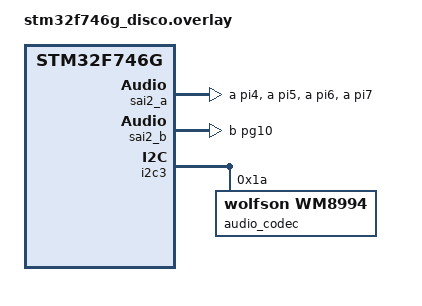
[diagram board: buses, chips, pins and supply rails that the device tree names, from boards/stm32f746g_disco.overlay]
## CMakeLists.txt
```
# Copyright (C) 2026 Kamil Lulko <kamil.lulko@gmail.com>
#
# This file is part of hIRoic_zephyr.
#
# hIRoic_zephyr is free software: you can redistribute it and/or modify
# it under the terms of the GNU General Public License as published by
# the Free Software Foundation, either version 3 of the License, or
# (at your option) any later version.
#
# hIRoic_zephyr is distributed in the hope that it will be useful,
# but WITHOUT ANY WARRANTY; without even the implied warranty of
# MERCHANTABILITY or FITNESS FOR A PARTICULAR PURPOSE. See the
# GNU General Public License for more details.
#
# You should have received a copy of the GNU General Public License
# along with hIRoic_zephyr. If not, see <https://www.gnu.org/licenses/>.

cmake_minimum_required(VERSION 3.20.0)

# Add out-of-tree WM8994 driver
list(APPEND ZEPHYR_EXTRA_MODULES ${CMAKE_CURRENT_SOURCE_DIR}/drivers/wm8994)

# Add app-level DTS include path (for dt-bindings/clock/stm32f7_sai_clock.h)
list(APPEND DTS_ROOT ${CMAKE_CURRENT_SOURCE_DIR})

find_package(Zephyr REQUIRED HINTS $ENV{ZEPHYR_BASE})
project(hIRoic)

set(CORE ${CMAKE_CURRENT_SOURCE_DIR}/core)

target_sources(app PRIVATE
    src/main.c
    src/ir_manager.c
    ${CORE}/src/dsp.c
    ${CORE}/src/wav_parser.c
    ${CORE}/src/ir_convert.c
    ${CORE}/src/lvgl_ui.c
)

target_include_directories(app PRIVATE
    ${CORE}/include
    src/
)
```

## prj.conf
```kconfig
# Copyright (C) 2026 Kamil Lulko <kamil.lulko@gmail.com>
#
# This file is part of hIRoic_zephyr.
#
# hIRoic_zephyr is free software: you can redistribute it and/or modify
# it under the terms of the GNU General Public License as published by
# the Free Software Foundation, either version 3 of the License, or
# (at your option) any later version.
#
# hIRoic_zephyr is distributed in the hope that it will be useful,
# but WITHOUT ANY WARRANTY; without even the implied warranty of
# MERCHANTABILITY or FITNESS FOR A PARTICULAR PURPOSE. See the
# GNU General Public License for more details.
#
# You should have received a copy of the GNU General Public License
# along with hIRoic_zephyr. If not, see <https://www.gnu.org/licenses/>.

# Audio
CONFIG_I2S=y

# DSP (CMSIS-DSP FFT)
CONFIG_CMSIS_DSP=y
CONFIG_CMSIS_DSP_TRANSFORM=y
CONFIG_CMSIS_DSP_COMPLEXMATH=y
CONFIG_CMSIS_DSP_BASICMATH=y
CONFIG_CMSIS_DSP_SUPPORT=y

# SD card / filesystem
CONFIG_DISK_ACCESS=y
CONFIG_DISK_DRIVERS=y
CONFIG_DISK_DRIVER_SDMMC=y
CONFIG_FILE_SYSTEM=y
CONFIG_FAT_FILESYSTEM_ELM=y

# Serial input
CONFIG_CONSOLE_SUBSYS=y
CONFIG_CONSOLE_GETCHAR=y

# LVGL display
CONFIG_LVGL=y
CONFIG_DISPLAY=y
CONFIG_LV_Z_RUN_LVGL_ON_WORKQUEUE=y
CONFIG_LV_Z_LVGL_MUTEX=y
CONFIG_LV_COLOR_DEPTH_24=y
CONFIG_LV_FONT_MONTSERRAT_14=y
CONFIG_LV_FONT_MONTSERRAT_32=y
CONFIG_LV_Z_MEM_POOL_SIZE=16384
```

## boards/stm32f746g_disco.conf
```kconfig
# Copyright (C) 2026 Kamil Lulko <kamil.lulko@gmail.com>
#
# This file is part of hIRoic_zephyr.
#
# hIRoic_zephyr is free software: you can redistribute it and/or modify
# it under the terms of the GNU General Public License as published by
# the Free Software Foundation, either version 3 of the License, or
# (at your option) any later version.
#
# hIRoic_zephyr is distributed in the hope that it will be useful,
# but WITHOUT ANY WARRANTY; without even the implied warranty of
# MERCHANTABILITY or FITNESS FOR A PARTICULAR PURPOSE. See the
# GNU General Public License for more details.
#
# You should have received a copy of the GNU General Public License
# along with hIRoic_zephyr. If not, see <https://www.gnu.org/licenses/>.

CONFIG_I2S=y
CONFIG_I2C=y
CONFIG_DMA=y
CONFIG_AUDIO=y
CONFIG_AUDIO_CODEC=y

CONFIG_HEAP_MEM_POOL_SIZE=32768
CONFIG_MAIN_STACK_SIZE=8192

CONFIG_LOG=y
CONFIG_I2S_LOG_LEVEL_DBG=y
CONFIG_SDMMC_LOG_LEVEL_DBG=y
CONFIG_DISK_LOG_LEVEL_DBG=y
```

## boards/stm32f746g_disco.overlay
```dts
/*
 * Copyright (C) 2026 Kamil Lulko <kamil.lulko@gmail.com>
 *
 * This file is part of hIRoic_zephyr.
 *
 * hIRoic_zephyr is free software: you can redistribute it and/or modify
 * it under the terms of the GNU General Public License as published by
 * the Free Software Foundation, either version 3 of the License, or
 * (at your option) any later version.
 *
 * hIRoic_zephyr is distributed in the hope that it will be useful,
 * but WITHOUT ANY WARRANTY; without even the implied warranty of
 * MERCHANTABILITY or FITNESS FOR A PARTICULAR PURPOSE. See the
 * GNU General Public License for more details.
 *
 * You should have received a copy of the GNU General Public License
 * along with hIRoic_zephyr. If not, see <https://www.gnu.org/licenses/>.
 */

#include <zephyr/dt-bindings/dma/stm32_dma.h>
#include <dt-bindings/clock/stm32f7_sai_clock.h>

/* Define SAI2 Block A and B nodes (not yet in upstream Zephyr) */
/ {
	soc {
		sai2_a: sai2@40015c04 {
			compatible = "st,stm32-sai";
			#address-cells = <1>;
			#size-cells = <0>;
			reg = <0x40015c04 0x20>;
			clocks = <&rcc STM32_CLOCK(APB2, 23)>;
			dmas = <&dma2 4 3 (STM32_DMA_MODE_NORMAL |
				STM32_DMA_PRIORITY_HIGH |
				STM32_DMA_16BITS) 0>;
			status = "disabled";
		};

		sai2_b: sai2@40015c24 {
			compatible = "st,stm32-sai";
			#address-cells = <1>;
			#size-cells = <0>;
			reg = <0x40015c24 0x20>;
			clocks = <&rcc STM32_CLOCK(APB2, 23)>;
			dmas = <&dma2 7 0 (STM32_DMA_MODE_NORMAL |
				STM32_DMA_PRIORITY_HIGH |
				STM32_DMA_16BITS) 0>;
			status = "disabled";
		};
	};
};

&dma2 {
	status = "okay";
};

&sdmmc1 {
	dmas = <&dma2 6 4 0x30000 0x00>, <&dma2 3 4 0x30000 0x00>;
	dma-names = "tx", "rx";
	/delete-property/ cd-gpios;
};

/* Configure PLLSAI for audio clocking (approximate 44.1k family)
 * Goal: produce MCLK near 11.2896 MHz (256 * 44.1k = 11.2896 MHz).
 * Exact 11.2896 cannot be produced with HSE=25MHz and integer dividers,
 * so we choose PLLSAI N = 361 and dividers 8 and 4 to get:
 * PLLSAI_VCO = (25MHz / 25) * 361 = 361 MHz
 * SAI clock = 361 / 8 / 4 = 11.28125 MHz
 * Resulting sample rate = 11.28125 / 256 = 44032.22656 Hz (approx. 44.03 kHz)
 */
&pllsai {
	mul-n = <361>;
	div-q = <8>;
	div-divq = <4>;
	status = "okay";
};

i2s_tx: &sai2_a {
	status = "okay";
	pinctrl-0 = <&sai2_mclk_a_pi4 &sai2_sck_a_pi5
		     &sai2_sd_a_pi6 &sai2_fs_a_pi7>;
	pinctrl-names = "default";
	clocks = <&rcc STM32_CLOCK(APB2, 23)>,
		 <&rcc STM32_SRC_PLLSAI_DIVQ SAI2_SEL(0)>;
	dma-names = "tx";
	mclk-enable;
	mclk-divider = "div-256";
};

i2s_rx: &sai2_b {
	status = "okay";
	pinctrl-0 = <&sai2_sd_b_pg10>;
	pinctrl-names = "default";
	dma-names = "rx";
	/* SAI2_B must be synchronous with SAI2_A since it shares clocks */
	synchronous;
};

&i2c3 {
audio_codec: wm8994@1a {
	compatible = "wolfson,wm8994";
	reg = <0x1a>;
	#sound-dai-cells = <0>;
	status = "okay";
};
};
```

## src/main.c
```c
/*
 * Copyright (C) 2026 Kamil Lulko <kamil.lulko@gmail.com>
 *
 * This file is part of hIRoic_zephyr.
 *
 * hIRoic_zephyr is free software: you can redistribute it and/or modify
 * it under the terms of the GNU General Public License as published by
 * the Free Software Foundation, either version 3 of the License, or
 * (at your option) any later version.
 *
 * hIRoic_zephyr is distributed in the hope that it will be useful,
 * but WITHOUT ANY WARRANTY; without even the implied warranty of
 * MERCHANTABILITY or FITNESS FOR A PARTICULAR PURPOSE. See the
 * GNU General Public License for more details.
 *
 * You should have received a copy of the GNU General Public License
 * along with hIRoic_zephyr. If not, see <https://www.gnu.org/licenses/>.
 *
 * hIRoic - Real-time guitar cabinet IR convolution processor
 *
 * Threads:
 * - audio_thread (priority 7): i2s_read -> dsp_process -> i2s_write
 * - input_thread (priority 4): serial console, IR loading
 * - heartbeat_thread (priority 5): stats logging, LVGL label update
 * - LVGL workqueue (automatic): display rendering
 */

#include <zephyr/kernel.h>
#include <zephyr/linker/section_tags.h>
#include <zephyr/sys/printk.h>
#include <zephyr/drivers/i2s.h>
#include <zephyr/audio/codec.h>
#include <zephyr/logging/log.h>
#include <zephyr/console/console.h>
#include <string.h>
#include <stdio.h>

#include "app_conf.h"
#include "dsp.h"
#include "ir_manager.h"

#ifdef CONFIG_LVGL
#include <lvgl.h>
#include <lvgl_display.h>
#include <zephyr/device.h>
#include <zephyr/drivers/display.h>
#include "lvgl_ui_core.h"
#endif

LOG_MODULE_REGISTER(hiroic, LOG_LEVEL_DBG);

/* ========================================================================= */
/* I2S DEVICE NODES                                                          */
/* ========================================================================= */

#if DT_NODE_EXISTS(DT_NODELABEL(i2s_rxtx))
#define I2S_RX_NODE DT_NODELABEL(i2s_rxtx)
#define I2S_TX_NODE I2S_RX_NODE
#else
#define I2S_RX_NODE DT_NODELABEL(i2s_rx)
#define I2S_TX_NODE DT_NODELABEL(i2s_tx)
#endif

/* ========================================================================= */
/* AUDIO CONFIGURATION                                                       */
/* ========================================================================= */

#define SAMPLE_FREQUENCY   DSP_RATE
#define SAMPLE_BIT_WIDTH   16
#define BYTES_PER_SAMPLE   sizeof(int16_t)
#define NUMBER_OF_CHANNELS 1
#define SAMPLES_PER_BLOCK  DSP_BUFFER_SIZE
#define INITIAL_BLOCKS     4
#define TIMEOUT            1000

#define BLOCK_SIZE  (BYTES_PER_SAMPLE * SAMPLES_PER_BLOCK)
/* Pad slab block size to cache line boundary (32 bytes) for DMA coherency */
#define SLAB_BLOCK_SIZE ((BLOCK_SIZE + 31) & ~31)
#define BLOCK_COUNT (INITIAL_BLOCKS + 4)
K_MEM_SLAB_DEFINE_IN_SECT_STATIC(mem_slab, __dtcm_noinit_section,
				 SLAB_BLOCK_SIZE, BLOCK_COUNT, 32);

/* ========================================================================= */
/* APPLICATION STATE                                                         */
/* ========================================================================= */

/* IR buffer for loading from SD card */
static int ir_buffer[IR_MAX_LEN];
static unsigned int ir_length;
static unsigned int ir_sample_rate;

/* Semaphore: gates audio thread until I2S streams are started */
static K_SEM_DEFINE(i2s_ready_sem, 0, 1);

/* Flag: when true, audio thread bypasses DSP (passthrough) during IR load */
static volatile bool ir_loading;

/* Flag: when true, audio thread bypasses DSP (user-toggled bypass) */
static volatile bool ir_bypass;

/* Processing statistics */
static volatile uint32_t total_processing_cycles;
static volatile uint32_t processing_sample_count;
static volatile uint32_t audio_overrun_count;
static volatile int16_t audio_peak_level;

/* I2S device pointers (set in main, used by threads) */
static const struct device *i2s_dev_rx;
static const struct device *i2s_dev_tx;


/* ========================================================================= */
/* I2S HELPERS                                                               */
/* ========================================================================= */

static bool configure_streams(const struct device *dev_rx, const struct device *dev_tx,
			      const struct i2s_config *config)
{
	int ret;

	if (dev_rx == dev_tx) {
		ret = i2s_configure(dev_rx, I2S_DIR_BOTH, config);
		if (ret == 0) {
			return true;
		}
		if (ret != -ENOSYS) {
			printk("Failed to configure streams: %d\n", ret);
			return false;
		}
	}

	/* RX must be slave when using separate TX/RX with synchronous mode */
	struct i2s_config rx_config = *config;
	rx_config.options = I2S_OPT_BIT_CLK_SLAVE | I2S_OPT_FRAME_CLK_SLAVE;

	ret = i2s_configure(dev_rx, I2S_DIR_RX, &rx_config);
	if (ret < 0) {
		printk("Failed to configure RX stream: %d\n", ret);
		return false;
	}

	ret = i2s_configure(dev_tx, I2S_DIR_TX, config);
	if (ret < 0) {
		printk("Failed to configure TX stream: %d\n", ret);
		return false;
	}

	return true;
}

static bool prepare_transfer(const struct device *dev_rx, const struct device *dev_tx)
{
	int ret;

	for (int i = 0; i < INITIAL_BLOCKS; ++i) {
		void *mem_block;

		ret = k_mem_slab_alloc(&mem_slab, &mem_block, K_NO_WAIT);
		if (ret < 0) {
			printk("Failed to allocate TX block %d: %d\n", i, ret);
			return false;
		}

		memset(mem_block, 0, BLOCK_SIZE);

		ret = i2s_write(dev_tx, mem_block, BLOCK_SIZE);
		if (ret < 0) {
			printk("Failed to write block %d: %d\n", i, ret);
			return false;
		}
	}

	return true;
}

static bool trigger_command(const struct device *dev_rx, const struct device *dev_tx,
			    enum i2s_trigger_cmd cmd)
{
	int ret;

	if (dev_rx == dev_tx) {
		ret = i2s_trigger(dev_rx, I2S_DIR_BOTH, cmd);
		if (ret == 0) {
			return true;
		}
		if (ret != -ENOSYS) {
			printk("Failed to trigger command %d: %d\n", cmd, ret);
			return false;
		}
	}

	/* TX first for START, RX first for STOP/DROP */
	if (cmd == I2S_TRIGGER_START) {
		ret = i2s_trigger(dev_tx, I2S_DIR_TX, cmd);
		if (ret < 0) {
			printk("Failed to trigger command %d on TX: %d\n", cmd, ret);
			return false;
		}
		ret = i2s_trigger(dev_rx, I2S_DIR_RX, cmd);
		if (ret < 0) {
			printk("Failed to trigger command %d on RX: %d\n", cmd, ret);
			return false;
		}
	} else {
		ret = i2s_trigger(dev_rx, I2S_DIR_RX, cmd);
		if (ret < 0) {
			printk("Failed to trigger command %d on RX: %d\n", cmd, ret);
			return false;
		}
		ret = i2s_trigger(dev_tx, I2S_DIR_TX, cmd);
		if (ret < 0) {
			printk("Failed to trigger command %d on TX: %d\n", cmd, ret);
			return false;
		}
	}

	return true;
}

static bool start_i2s_streams(void)
{
	if (!prepare_transfer(i2s_dev_rx, i2s_dev_tx)) {
		return false;
	}
	if (!trigger_command(i2s_dev_rx, i2s_dev_tx, I2S_TRIGGER_START)) {
		return false;
	}
	printk("I2S streams started\n");
	return true;
}


/* ========================================================================= */
/* AUDIO THREAD                                                              */
/* ========================================================================= */

static void audio_thread_fn(void *p1, void *p2, void *p3)
{
	ARG_UNUSED(p1);
	ARG_UNUSED(p2);
	ARG_UNUSED(p3);

	printk("Audio thread started, waiting for I2S...\n");
	k_sem_take(&i2s_ready_sem, K_FOREVER);
	printk("Audio thread running\n");

	for (;;) {
		void *rx_block;
		uint32_t block_size;
		int ret;

		/* Block until RX data is ready */
		ret = i2s_read(i2s_dev_rx, &rx_block, &block_size);
		if (ret < 0) {
			if (ret == -EIO) {
				/* Stream was stopped (e.g. for IR reload).
				 * 50ms backoff avoids busy-looping while the stream
				 * is being restarted by the input thread. */
				k_sleep(K_MSEC(50));
				continue;
			}
			printk("Failed to read data: %d\n", ret);
			audio_overrun_count++;
			continue;
		}

		uint32_t start_cycles = k_cycle_get_32();

		/* Allocate output block */
		void *tx_block;
		ret = k_mem_slab_alloc(&mem_slab, &tx_block, K_NO_WAIT);
		if (ret < 0) {
			printk("Failed to allocate TX block: %d\n", ret);
			k_mem_slab_free(&mem_slab, rx_block);
			audio_overrun_count++;
			continue;
		}

#if defined(AUDIO_TEST_MODE_ECHO)
		/* Echo mode: copy RX to TX unchanged */
		memcpy(tx_block, rx_block, BLOCK_SIZE);
#else
		if (ir_loading || ir_bypass) {
			/* Passthrough while IR is being loaded or bypass enabled */
			memcpy(tx_block, rx_block, BLOCK_SIZE);
		} else {
			/* Normal mode: apply IR convolution */
			dsp_process((int16_t *)tx_block, (int16_t *)rx_block);
		}
#endif

		uint32_t end_cycles = k_cycle_get_32();
		total_processing_cycles += (end_cycles - start_cycles);
		processing_sample_count++;

		/* Compute peak level of output buffer (outside timing) */
		{
			int16_t peak = 0;
			int16_t *out = (int16_t *)tx_block;
			for (int i = 0; i < DSP_BUFFER_SIZE; i++) {
				int16_t abs_val = (out[i] < 0) ? -out[i] : out[i];
				if (abs_val > peak) {
					peak = abs_val;
				}
			}
			audio_peak_level = peak;
		}

		/* Free the RX block */
		k_mem_slab_free(&mem_slab, rx_block);

		/* Queue TX block for output */
		ret = i2s_write(i2s_dev_tx, tx_block, BLOCK_SIZE);
		if (ret < 0) {
			printk("Failed to write data: %d\n", ret);
			k_mem_slab_free(&mem_slab, tx_block);
			audio_overrun_count++;
		}
	}
}

K_THREAD_DEFINE(audio_thread, 4096,
		audio_thread_fn, NULL, NULL, NULL,
		7, 0, 0);

/* ========================================================================= */
/* INPUT THREAD                                                              */
/* ========================================================================= */

static void input_thread_fn(void *p1, void *p2, void *p3)
{
	ARG_UNUSED(p1);
	ARG_UNUSED(p2);
	ARG_UNUSED(p3);

	printk("Input thread started\n");

	for (;;) {
		uint8_t c = console_getchar();

		if (c == 'a') {
			printk("Loading next IR...\n");

			/* Bypass DSP during IR load (audio passes through) */
			ir_loading = true;

			/* Load next IR from SD card */
			int res = ir_manager_getNextIR(ir_buffer, &ir_length, &ir_sample_rate);
			if (res == 0) {
				/* Reconfigure DSP with new IR */
				dsp_loadIR(ir_buffer, ir_length, ir_sample_rate);
				printk("Loaded IR: %u samples @ %u Hz\n", ir_length, ir_sample_rate);
#ifdef CONFIG_LVGL
				lv_lock();
				lvgl_ui_update_ir(ir_manager_getCurrentIRName(),
						  ir_length);
				lv_unlock();
#endif
			} else {
				printk("Failed to load IR: %d\n", res);
			}

			ir_loading = false;
		} else if (c == 's') {
			ir_bypass = !ir_bypass;
			printk("DSP bypass %s\n", ir_bypass ? "ON" : "OFF");
		}
	}
}

K_THREAD_DEFINE(input_thread, 8192,
		input_thread_fn, NULL, NULL, NULL,
		4, 0, 0);

/* ========================================================================= */
/* HEARTBEAT THREAD                                                          */
/* ========================================================================= */

static void heartbeat_thread_fn(void *p1, void *p2, void *p3)
{
	ARG_UNUSED(p1);
	ARG_UNUSED(p2);
	ARG_UNUSED(p3);

	printk("Heartbeat thread started\n");
	uint32_t tick = 0;

	for (;;) {
		k_sleep(K_MSEC(33));
		tick++;

#ifdef CONFIG_LVGL
		/* Update VU bar every 33ms (~30 fps) */
		lv_lock();
		lvgl_ui_update_vu(audio_peak_level);
		lv_unlock();
#endif

		/* CPU stats + label every ~1s (30 ticks) */
		if (tick % 30 != 0) {
			continue;
		}

		/* Calculate average processing time */
		uint32_t avg_time_us = 0;
		uint32_t pct = 0;
		if (processing_sample_count > 0) {
			uint32_t total_us = k_cyc_to_us_floor32(total_processing_cycles);
			avg_time_us = total_us / processing_sample_count;
			/* Reset counters for next period */
			total_processing_cycles = 0;
			processing_sample_count = 0;
		}

		/* Deadline: time per buffer in microseconds */
		uint32_t deadline_us = ((uint32_t)DSP_BUFFER_SIZE * 1000000U) / (uint32_t)DSP_RATE;
		if (deadline_us > 0) {
			pct = (avg_time_us * 100U) / deadline_us;
		}

		printk("DSP: %u.%03u ms / %u.%03u ms (%u%%) | Overruns: %u\n",
		       avg_time_us / 1000, avg_time_us % 1000,
		       deadline_us / 1000, deadline_us % 1000,
		       pct,
		       audio_overrun_count);

#ifdef CONFIG_LVGL
		lv_lock();
		lvgl_ui_update_cpu(pct);
		lv_unlock();
#endif
	}
}

K_THREAD_DEFINE(heartbeat_thread, 2048,
		heartbeat_thread_fn, NULL, NULL, NULL,
		5, 0, 0);

/* ========================================================================= */
/* MAIN                                                                      */
/* ========================================================================= */

int main(void)
{
	struct i2s_config config;

	printk("hIRoic - Guitar Cabinet IR Convolution\n");
	printk("Build %s %s\n", __DATE__, __TIME__);
	printk("Config: %d-bit, %d channel, %d Hz, %d samples/block\n",
	       SAMPLE_BIT_WIDTH, NUMBER_OF_CHANNELS, SAMPLE_FREQUENCY, SAMPLES_PER_BLOCK);

	/* Initialize DSP engine (loads default 460-sample embedded IR) */
	dsp_init();

	/* Initialize console for serial input */
	console_init();

	/* Get I2S devices */
	i2s_dev_rx = DEVICE_DT_GET(I2S_RX_NODE);
	i2s_dev_tx = DEVICE_DT_GET(I2S_TX_NODE);

	if (!device_is_ready(i2s_dev_rx)) {
		printk("ERROR: %s is not ready\n", i2s_dev_rx->name);
		return 0;
	}
	printk("I2S RX device %s is ready\n", i2s_dev_rx->name);

	if (i2s_dev_rx != i2s_dev_tx) {
		if (!device_is_ready(i2s_dev_tx)) {
			printk("ERROR: %s is not ready\n", i2s_dev_tx->name);
			return 0;
		}
		printk("I2S TX device %s is ready\n", i2s_dev_tx->name);
	}

	/* Configure I2S streams */
	config.word_size = SAMPLE_BIT_WIDTH;
	config.channels = NUMBER_OF_CHANNELS;
	config.format = I2S_FMT_DATA_FORMAT_I2S;
	config.options = I2S_OPT_BIT_CLK_MASTER | I2S_OPT_FRAME_CLK_MASTER;
	config.frame_clk_freq = SAMPLE_FREQUENCY;
	config.mem_slab = &mem_slab;
	config.block_size = BLOCK_SIZE;
	config.timeout = TIMEOUT;
	if (!configure_streams(i2s_dev_rx, i2s_dev_tx, &config)) {
		return 0;
	}

	/* Enable SAI2_A to generate MCLK for codec initialization.
	 * The SAI driver doesn't do this, and the WM8994 needs MCLK present
	 * before it can be configured over I2C. */
	volatile uint32_t *sai2a_cr1 = (volatile uint32_t *)0x40015C04;
	*sai2a_cr1 |= (1U << 16);  /* SAI_xCR1_SAIEN */

	/* Configure codec AFTER SAI streams so MCLK is present */
#if DT_NODE_HAS_STATUS(DT_NODELABEL(audio_codec), okay)
	const struct device *const codec_dev = DEVICE_DT_GET(DT_NODELABEL(audio_codec));
	struct audio_codec_cfg audio_cfg;

	audio_cfg.dai_route = AUDIO_ROUTE_PLAYBACK_CAPTURE;
	audio_cfg.dai_type = AUDIO_DAI_TYPE_I2S;
	audio_cfg.dai_cfg.i2s.word_size = SAMPLE_BIT_WIDTH;
	audio_cfg.dai_cfg.i2s.channels = NUMBER_OF_CHANNELS;
	audio_cfg.dai_cfg.i2s.format = I2S_FMT_DATA_FORMAT_I2S;
	audio_cfg.dai_cfg.i2s.options = I2S_OPT_FRAME_CLK_MASTER;
	audio_cfg.dai_cfg.i2s.frame_clk_freq = SAMPLE_FREQUENCY;
	audio_cfg.dai_cfg.i2s.mem_slab = &mem_slab;
	audio_cfg.dai_cfg.i2s.block_size = BLOCK_SIZE;
	audio_codec_configure(codec_dev, &audio_cfg);

	audio_codec_start(codec_dev, AUDIO_DAI_DIR_TX);
	audio_codec_start(codec_dev, AUDIO_DAI_DIR_RX);
	/* Allow codec analog outputs to settle after start.
	 * The WM8994 driver init already waits ~632ms internally;
	 * this extra 1s is conservative headroom for the SAI clocks
	 * and analog path to fully stabilize before streaming. */
	k_msleep(1000);
#endif

	/* Initialize IR manager (mount SD card, list files) */
	if (ir_manager_init() == 0) {
		/* Load first IR from SD card */
		if (ir_manager_getNextIR(ir_buffer, &ir_length, &ir_sample_rate) == 0) {
			dsp_loadIR(ir_buffer, ir_length, ir_sample_rate);
			printk("Initial IR: %u samples @ %u Hz\n", ir_length, ir_sample_rate);
		} else {
			printk("No IR loaded from SD, using default\n");
		}
	} else {
		printk("SD card not available, using default IR\n");
	}

#ifdef CONFIG_LVGL
	{
		const struct device *display_dev = DEVICE_DT_GET(DT_CHOSEN(zephyr_display));

		if (!device_is_ready(display_dev)) {
			printk("ERROR: display device not ready\n");
		} else {
			lv_lock();
			lvgl_ui_create_widgets("hIRoic (Zephyr)");
			if (ir_length > 0) {
				lvgl_ui_update_ir(ir_manager_getCurrentIRName(),
						  ir_length);
			}
			lv_unlock();

			/* Turn on backlight */
			display_blanking_off(display_dev);

			printk("LVGL display initialized\n");
		}
	}
#endif

	/* Start I2S streaming and ungate the audio thread */
	if (!start_i2s_streams()) {
		printk("ERROR: Failed to start I2S streams\n");
		return 0;
	}
	k_sem_give(&i2s_ready_sem);

	printk("hIRoic running. Press 'a' to cycle IRs.\n");

	/* main() returns, threads continue running */
	return 0;
}
```

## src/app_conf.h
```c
/*
 * Copyright (C) 2026 Kamil Lulko <kamil.lulko@gmail.com>
 *
 * This file is part of hIRoic_zephyr.
 *
 * hIRoic_zephyr is free software: you can redistribute it and/or modify
 * it under the terms of the GNU General Public License as published by
 * the Free Software Foundation, either version 3 of the License, or
 * (at your option) any later version.
 *
 * hIRoic_zephyr is distributed in the hope that it will be useful,
 * but WITHOUT ANY WARRANTY; without even the implied warranty of
 * MERCHANTABILITY or FITNESS FOR A PARTICULAR PURPOSE. See the
 * GNU General Public License for more details.
 *
 * You should have received a copy of the GNU General Public License
 * along with hIRoic_zephyr. If not, see <https://www.gnu.org/licenses/>.
 */

#ifndef INC_APP_CONF_H_
#define INC_APP_CONF_H_

/* ========================================================================= */
/* AUDIO TEST MODES (enable ONE or NONE)                                     */
/* ========================================================================= */

/**
 * Audio processing test modes:
 * - Define AUDIO_TEST_MODE_ECHO to bypass DSP and echo RX to TX unchanged
 * - Define neither for normal DSP processing (IR convolution)
 */
//#define AUDIO_TEST_MODE_ECHO 1

/* ========================================================================= */
/* DSP CONFIGURATION                                                         */
/* ========================================================================= */

#define DSP_BUFFER_SIZE			512
#define DSP_BITSIZE				32
#define DSP_RATE				44100
#define IR_MAX_LEN				1048U
#define COEF_MAX                IR_MAX_LEN
/* FFT-based convolution configuration */
/* Use FFT when IR length exceeds this threshold */
#define FFT_CONVOLUTION_THRESHOLD 512U
#define WAV_BUF_MAX_LEN			((IR_MAX_LEN + 64) * 4)

#endif /* INC_APP_CONF_H_ */
```

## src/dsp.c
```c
/*
 * Copyright (C) 2026 Kamil Lulko <kamil.lulko@gmail.com>
 *
 * This file is part of hIRoic_zephyr.
 *
 * hIRoic_zephyr is free software: you can redistribute it and/or modify
 * it under the terms of the GNU General Public License as published by
 * the Free Software Foundation, either version 3 of the License, or
 * (at your option) any later version.
 *
 * hIRoic_zephyr is distributed in the hope that it will be useful,
 * but WITHOUT ANY WARRANTY; without even the implied warranty of
 * MERCHANTABILITY or FITNESS FOR A PARTICULAR PURPOSE. See the
 * GNU General Public License for more details.
 *
 * You should have received a copy of the GNU General Public License
 * along with hIRoic_zephyr. If not, see <https://www.gnu.org/licenses/>.
 */

#include "dsp.h"
#include "arm_math.h"
#include "arm_const_structs.h"
#include "app_conf.h"
#include <stdint.h>
#include <zephyr/sys/printk.h>
#include <string.h>

/* Calculate maximum FFT size needed: next power of 2 >= (DSP_BUFFER_SIZE + COEF_MAX - 1) */
/* This is used for static buffer allocation */
/* Helper macro to calculate next power of 2 at compile time */
#define NEXT_POWER_OF_2(n) \
	((n) <= 16 ? 16 : \
	 (n) <= 32 ? 32 : \
	 (n) <= 64 ? 64 : \
	 (n) <= 128 ? 128 : \
	 (n) <= 256 ? 256 : \
	 (n) <= 512 ? 512 : \
	 (n) <= 1024 ? 1024 : \
	 (n) <= 2048 ? 2048 : \
	 (n) <= 4096 ? 4096 : 8192)

#define FFT_SIZE_MAX NEXT_POWER_OF_2(DSP_BUFFER_SIZE + COEF_MAX - 1)

/* Overlap-add: output is (FFT_SIZE - DSP_BUFFER_SIZE) samples longer */
/* This will be calculated at runtime based on actual FFT size */

static const q31_t coef[460] = {
1661309, 4930648, 7210357, 7969177, 7723002, 5464464, 1984651, -794875,
-2796633, -3648160, -2653684, -836352, 464958, 1365160, 1972757, 1848331,
1180310, 731415, 717919, 922550, 1275760, 1582588, 1453341, 1049706,
603812, 209076, 107894, 214546, 481429, 761787, 712907, 274775,
59021, 104408, -34271, -191000, 2029, 330768, 529940, 744128,
939604, 984893, 819031, 480627, 155519, 58231, -11306, -169842,
-225034, -269277, -327872, -277797, -167466, 6559, 216122, 344417,
401998, 392012, 287314, 120829, 32078, -42779, -147295, -219221,
-331460, -517333, -633749, -585849, -381404, -107821, 112302, 173400,
140034, 73189, -98481, -327596, -533992, -682236, -691383, -586081,
-377214, -135576, 11395, 35484, -27636, -94583, -156194, -260365,
-372756, -506796, -729598, -1014327, -1227488, -1324328, -1308442, -1147178,
-898656, -675775, -434568, -186190, -34530, -12042, -62766, -169751,
-247655, -224762, -154416, -86099, -34684, -90304, -291921, -577258,
-854364, -1042891, -1125208, -1102981, -960011, -697752, -373692, -68320,
129467, 147499, 38310, -135702, -336464, -508343, -613859, -656458,
-632766, -590802, -554812, -539828, -535479, -552653, -575539, -551254,
-479208, -388482, -280932, -188891, -148600, -187472, -282625, -403278,
-506668, -556003, -574908, -596398, -606886, -621437, -657285, -683028,
-676190, -669889, -663549, -635631, -592443, -551325, -517988, -519606,
-555615, -596282, -626946, -662941, -682516, -685371, -686464, -672695,
-626150, -584311, -557855, -526945, -479535, -425720, -372816, -341146,
-330796, -335401, -337198, -344065, -339651, -309170, -264948, -212230,
-153116, -114407, -105583, -126220, -164109, -205744, -244452, -276518,
-286997, -283497, -277057, -291742, -335523, -397582, -442113, -447574,
-410165, -354889, -298079, -251432, -213423, -184756, -163122, -148486,
-133147, -129174, -133040, -138719, -151226, -175940, -193406, -195089,
-174635, -140435, -106748, -85264, -78475, -84803, -88275, -92405,
-106339, -131515, -152085, -162595, -158666, -144259, -121234, -99659,
-75353, -56763, -60452, -96771, -142862, -183279, -202670, -199021,
-183345, -164038, -139892, -121563, -103946, -84017, -64141, -47798,
-20249, 25239, 83609, 134201, 165847, 169888, 165044, 164379,
164671, 158121, 154150, 158238, 182871, 229292, 280488, 305316,
300563, 284789, 277340, 272924, 261241, 228559, 183737, 142701,
123369, 129259, 157078, 188428, 218321, 250473, 284389, 309007,
315436, 296496, 269260, 247927, 240640, 235263, 221857, 200672,
182100, 167269, 165164, 172153, 174442, 165984, 164527, 175148,
196368, 219246, 244733, 263761, 265484, 244305, 211447, 177163,
158047, 154144, 161598, 173965, 190889, 212654, 243821, 273860,
302251, 330552, 354080, 360813, 347935, 312144, 270099, 235188,
226173, 257372, 312481, 348572, 346610, 313908, 279990, 261089,
253705, 250530, 253648, 256113, 260114, 261465, 262653, 266349,
278073, 301732, 342623, 391215, 434624, 448272, 431477, 400675,
379375, 374685, 383163, 392672, 398699, 393113, 376135, 347456,
314434, 282313, 262187, 252215, 250340, 256549, 271266, 284861,
292427, 300183, 321547, 343605, 349700, 332540, 296851, 248744,
199731, 159437, 139757, 137221, 143568, 149163, 161016, 184377,
214094, 231485, 235729, 234797, 239760, 248530, 261567, 278008,
300532, 320650, 340412, 358180, 365448, 351189, 324367, 300180,
294239, 307454, 329377, 337892, 325254, 298077, 271287, 246776,
226206, 210965, 204223, 205353, 222389, 246375, 265331, 271910,
269346, 262684, 261642, 265233, 268404, 263395, 249472, 221831,
193124, 175676, 171894, 175409, 181147, 187081, 196383, 204761,
214513, 223996, 230166, 230470, 231660, 236498, 249634, 263781,
272982, 271766, 259570, 231948, 191941, 148674, 118520, 105736,
107432, 114281, 125499, 142958, 160892, 165746, 162931, 162017,
169763, 181232, 197076, 214944, 225715, 223426, 219779, 219325,
218365, 209609, 192655, 161471
};

/* Frequency-domain convolution structures */
/* Buffers sized for maximum FFT size, but actual size is determined at runtime */
static q31_t ir_fft[FFT_SIZE_MAX * 2];  /* Complex FFT of IR (interleaved real/imag) */
static q31_t input_fft[FFT_SIZE_MAX * 2];  /* Complex FFT of input block */
static q31_t output_fft[FFT_SIZE_MAX * 2];  /* Complex FFT of output */
static q31_t overlap_buffer[FFT_SIZE_MAX];  /* Overlap-add buffer (max size) */
static q31_t work_buffer[FFT_SIZE_MAX];  /* Shared: input staging + output extraction */

static unsigned int ir_length = 0;
static unsigned int coefSize;
static unsigned int fft_size = 0;  /* Runtime FFT size */
static unsigned int overlap_size = 0;  /* Runtime overlap size */
static const arm_cfft_instance_q31 *fft_instance = NULL;  /* FFT function instance */

/* Calculate next power of 2 >= n, capped at 4096 (max supported FFT size) */
static unsigned int calculate_next_power_of_2(unsigned int n)
{
	unsigned int power = 1;
	unsigned int max_power = 4096;  /* Maximum supported FFT size */

	while (power < n && power < max_power) {
		power <<= 1;
	}

	/* If n exceeds max_power, return max_power */
	if (n > max_power) {
		return max_power;
	}

	return power;
}

/* Get FFT instance based on size */
static const arm_cfft_instance_q31 *get_fft_instance(unsigned int size)
{
	switch (size) {
		case 16:   return &arm_cfft_sR_q31_len16;
		case 32:   return &arm_cfft_sR_q31_len32;
		case 64:   return &arm_cfft_sR_q31_len64;
		case 128:  return &arm_cfft_sR_q31_len128;
		case 256:  return &arm_cfft_sR_q31_len256;
		case 512:  return &arm_cfft_sR_q31_len512;
		case 1024: return &arm_cfft_sR_q31_len1024;
		case 2048: return &arm_cfft_sR_q31_len2048;
		case 4096: return &arm_cfft_sR_q31_len4096;
		default:
			printk("Error: Unsupported FFT size %u\n", size);
			return NULL;
	}
}

/* Calculate and set FFT size based on IR length */
static void set_fft_size(unsigned int ir_len)
{
	unsigned int min_fft_size = DSP_BUFFER_SIZE + ir_len - 1;
	unsigned int max_supported_fft = 4096;

	/* Check if we can fit in a supported FFT size */
	if (min_fft_size > max_supported_fft) {
		printk("Error: Required FFT size %u exceeds maximum %u\n",
		       min_fft_size, max_supported_fft);
		fft_size = 0;
		overlap_size = 0;
		fft_instance = NULL;
		return;
	}

	fft_size = calculate_next_power_of_2(min_fft_size);
	overlap_size = fft_size - DSP_BUFFER_SIZE;
	fft_instance = get_fft_instance(fft_size);

	if (fft_instance == NULL) {
		printk("Error: Cannot find FFT instance for size %u\n", fft_size);
		fft_size = 0;
		overlap_size = 0;
	}
}

void dsp_init(void)
{
	coefSize = sizeof(coef) / sizeof(coef[0]);

	/* Initialize overlap buffer to zero */
	memset(overlap_buffer, 0, sizeof(overlap_buffer));

	/* Load default IR (bitSize=32, fs=44100) - coef is already in Q31 format */
	dsp_loadIR((const int *)coef, coefSize, 24, 44100);
}

static void dsp_process_freq_domain(int16_t *out, int16_t *in)
{
	unsigned int i;

	if (fft_instance == NULL || fft_size == 0) {
		/* Fallback: just copy input to output */
		for (i = 0; i < DSP_BUFFER_SIZE; i++) {
			out[i] = in[i];
		}
		return;
	}

	/* Convert 16-bit input to Q31 format (left shift by 16) */
	for (i = 0; i < DSP_BUFFER_SIZE; i++) {
		work_buffer[i] = (q31_t)in[i] << 16;
	}

	/* Zero-pad input to fft_size */
	memset(&work_buffer[DSP_BUFFER_SIZE], 0,
	       (fft_size - DSP_BUFFER_SIZE) * sizeof(q31_t));

	/* Convert real input to complex format (interleaved real/imag) */
	/* Real part in even indices, imag part (zero) in odd indices */
	for (i = 0; i < fft_size; i++) {
		input_fft[i * 2] = work_buffer[i];      /* Real part */
		input_fft[i * 2 + 1] = 0;                 /* Imaginary part */
	}

	/* Convert input to frequency domain (FFT) */
	arm_cfft_q31(fft_instance, input_fft, 0, 1);

	/* Multiply with IR frequency response (complex multiply) */
	arm_cmplx_mult_cmplx_q31(input_fft, ir_fft, output_fft, fft_size);

	for (i = 0; i < fft_size; i++) {
		output_fft[i] = output_fft[i] << 9;
	}

	/* Convert back to time domain (IFFT) */
	arm_cfft_q31(fft_instance, output_fft, 1, 1);

	for (i = 0; i < fft_size; i++) {
		output_fft[i] = output_fft[i] << 8;
	}

	/* Extract real part from complex output */
	for (i = 0; i < fft_size; i++) {
		work_buffer[i] = output_fft[i * 2];
	}

	/* Overlap-add: add previous overlap to current output (with saturation) */
	arm_add_q31(work_buffer, overlap_buffer, work_buffer, overlap_size);

	/* Save overlap for next block */
	for (i = 0; i < overlap_size; i++) {
		overlap_buffer[i] = work_buffer[DSP_BUFFER_SIZE + i];
	}

	/* Convert Q31 output back to 16-bit with saturation */
	for (i = 0; i < DSP_BUFFER_SIZE; i++) {
		q31_t val = work_buffer[i];
		/* Compensate for remaining FFT scaling and convert to int16 */
		int64_t scaled = ((int64_t)val * 32) >> 16;
		/* Clamp to int16_t range: -32768 to 32767 */
		if (scaled > 32767) {
			out[i] = 32767;
		} else if (scaled < -32768) {
			out[i] = -32768;
		} else {
			out[i] = (int16_t)scaled;
		}
	}
}

void dsp_process(int16_t *out, int16_t *in, unsigned int size)
{
	(void)size;  /* Parameter not used, size is always DSP_BUFFER_SIZE */

	dsp_process_freq_domain(out, in);
}

void dsp_loadIR(const int *ir, unsigned int length, unsigned int bitSize, unsigned int fs)
{
	unsigned int i;
	unsigned int actualLength = length;

	if (ir == NULL || length == 0) {
		return;
	}

	if (length > COEF_MAX) {
		printk("IR length %u exceeds maximum %u\n", length, COEF_MAX);
		actualLength = COEF_MAX;
	}

	if (fs != DSP_RATE) {
		printk("Warning: IR sample rate %u != DSP rate %u (resampling not implemented)\n",
		       fs, DSP_RATE);
	}

	ir_length = actualLength;

	/* Calculate and set FFT size based on IR length */
	set_fft_size(actualLength);

	if (fft_instance == NULL) {
		printk("Error: Failed to initialize FFT for IR length %u\n", actualLength);
		return;
	}

	/* Copy IR to padded buffer and zero-pad to fft_size */
	for (i = 0; i < actualLength; i++) {
		work_buffer[i] = (q31_t)ir[i];
	}
	memset(&work_buffer[actualLength], 0,
	       (fft_size - actualLength) * sizeof(q31_t));

	/* Convert real IR to complex format (interleaved real/imag) */
	for (i = 0; i < fft_size; i++) {
		ir_fft[i * 2] = work_buffer[i];      /* Real part */
		ir_fft[i * 2 + 1] = 0;                /* Imaginary part */
	}

	/* Convert IR to frequency domain (FFT) */
	arm_cfft_q31(fft_instance, ir_fft, 0, 1);

	/* Clear overlap buffer when loading new IR */
	memset(overlap_buffer, 0, overlap_size * sizeof(q31_t));

	printk("IR loaded: %u samples, FFT %u, ir[0..3]=%d %d %d %d\n",
	       actualLength, fft_size,
	       (int)work_buffer[0], (int)work_buffer[1],
	       (int)work_buffer[2], (int)work_buffer[3]);
}
```

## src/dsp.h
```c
/*
 * Copyright (C) 2026 Kamil Lulko <kamil.lulko@gmail.com>
 *
 * This file is part of hIRoic_zephyr.
 *
 * hIRoic_zephyr is free software: you can redistribute it and/or modify
 * it under the terms of the GNU General Public License as published by
 * the Free Software Foundation, either version 3 of the License, or
 * (at your option) any later version.
 *
 * hIRoic_zephyr is distributed in the hope that it will be useful,
 * but WITHOUT ANY WARRANTY; without even the implied warranty of
 * MERCHANTABILITY or FITNESS FOR A PARTICULAR PURPOSE. See the
 * GNU General Public License for more details.
 *
 * You should have received a copy of the GNU General Public License
 * along with hIRoic_zephyr. If not, see <https://www.gnu.org/licenses/>.
 */

#ifndef INC_DSP_H_
#define INC_DSP_H_

#include <stdint.h>
#include "arm_math.h"

void dsp_init(void);
void dsp_process(int16_t *out, int16_t *in, unsigned int size);
void dsp_loadIR(const int *ir, unsigned int length, unsigned int bitSize, unsigned int fs);

#endif /* INC_DSP_H_ */
```

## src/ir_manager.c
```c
/*
 * Copyright (C) 2026 Kamil Lulko <kamil.lulko@gmail.com>
 *
 * This file is part of hIRoic_zephyr.
 *
 * hIRoic_zephyr is free software: you can redistribute it and/or modify
 * it under the terms of the GNU General Public License as published by
 * the Free Software Foundation, either version 3 of the License, or
 * (at your option) any later version.
 *
 * hIRoic_zephyr is distributed in the hope that it will be useful,
 * but WITHOUT ANY WARRANTY; without even the implied warranty of
 * MERCHANTABILITY or FITNESS FOR A PARTICULAR PURPOSE. See the
 * GNU General Public License for more details.
 *
 * You should have received a copy of the GNU General Public License
 * along with hIRoic_zephyr. If not, see <https://www.gnu.org/licenses/>.
 */

#include "ir_manager.h"
#include "wav_parser.h"
#include "ir_convert.h"
#include "app_conf.h"
#include <stdint.h>
#include <zephyr/sys/printk.h>
#include <string.h>
#include <zephyr/fs/fs.h>
#include <ff.h>

#define PATH_SIZE 128U

/* Zephyr FS mount point for SD card */
static FATFS fat_fs;
static struct fs_mount_t mp = {
	.type = FS_FATFS,
	.fs_data = &fat_fs,
	.mnt_point = "/SD:",
};

static struct fs_dir_t dir;
static bool dir_open = false;
static char current_ir_name[64] = "default";

int ir_manager_init(void)
{
	int res;

	res = fs_mount(&mp);
	if (res != 0) {
		printk("Failed to mount filesystem: %d\n", res);
		return -1;
	}

	fs_dir_t_init(&dir);
	res = fs_opendir(&dir, "/SD:");
	if (res != 0) {
		printk("Failed to open directory: %d\n", res);
		return -1;
	}
	dir_open = true;

	printk("IR manager initialized\n");
	return 0;
}

int ir_manager_getNextIR(int *ir, unsigned int *length, unsigned int *fs)
{
	int res;
	const unsigned char *ptr;
	WAV_Data wavData;
	unsigned int maxReadSize;
	struct fs_dirent entry;
	struct fs_file_t file;
	char filepath[PATH_SIZE];
	ssize_t bytes_read;
	int wrap_count = 0;

	if (!dir_open) {
		printk("getNextIR: SD card not initialized\n");
		return -1;
	}

	if (ir == NULL || length == NULL || fs == NULL) {
		return -1;
	}

	/* Find next .wav file in directory */
	do {
		res = fs_readdir(&dir, &entry);
		if (res != 0 || entry.name[0] == 0) {
			/* No more files found, wrap around to beginning */
			if (++wrap_count > 1) {
				printk("getNextIR: no WAV files found\n");
				return -1;
			}
			fs_closedir(&dir);
			fs_dir_t_init(&dir);
			res = fs_opendir(&dir, "/SD:");
			if (res != 0) {
				printk("getNextIR: failed to reopen directory: %d\n", res);
				return -1;
			}
			continue;
		}

		if (!is_wav_file(entry.name)) {
			continue;
		}

		break;
	} while (1);

	printk("IR selected: %s\n", entry.name);
	snprintf(current_ir_name, sizeof(current_ir_name), "%s", entry.name);

	/* Build full path with mount point */
	snprintf(filepath, sizeof(filepath), "/SD:/%s", entry.name);

	fs_file_t_init(&file);
	res = fs_open(&file, filepath, FS_O_READ);
	if (res != 0) {
		printk("getNextIR: failed to open file: %d\n", res);
		return -1;
	}

	/* Use file size from directory entry (avoid fs_stat which can
	 * corrupt FATFS sector cache on Cortex-M7 with D-cache) */
	size_t fsize = entry.size;

	/* Calculate maximum readable size */
	maxReadSize = (fsize > WAV_BUF_MAX_LEN) ? WAV_BUF_MAX_LEN
	                                         : (unsigned int)fsize;

	ptr = (const unsigned char *)wav_parser_getWavBuff();
	bytes_read = fs_read(&file, (void *)ptr, maxReadSize);
	if (bytes_read < 0) {
		printk("getNextIR: failed to read file: %zd\n", bytes_read);
		fs_close(&file);
		return -1;
	}
	fs_close(&file);

	res = wav_parser_parseWav(&wavData, (unsigned int)bytes_read);
	if (res != 0) {
		printk("getNextIR: failed to parse WAV: %d\n", res);
		return -1;
	}

	res = ir_convert_samples(&wavData, ir, length, fs);
	if (res != 0) {
		printk("getNextIR: failed to convert samples\n");
		return -1;
	}

	printk("IR loaded: %u samples @ %u Hz\n", *length, *fs);
	return 0;
}

const char *ir_manager_getCurrentIRName(void)
{
	return current_ir_name;
}
```

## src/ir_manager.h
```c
/*
 * Copyright (C) 2026 Kamil Lulko <kamil.lulko@gmail.com>
 *
 * This file is part of hIRoic_zephyr.
 *
 * hIRoic_zephyr is free software: you can redistribute it and/or modify
 * it under the terms of the GNU General Public License as published by
 * the Free Software Foundation, either version 3 of the License, or
 * (at your option) any later version.
 *
 * hIRoic_zephyr is distributed in the hope that it will be useful,
 * but WITHOUT ANY WARRANTY; without even the implied warranty of
 * MERCHANTABILITY or FITNESS FOR A PARTICULAR PURPOSE. See the
 * GNU General Public License for more details.
 *
 * You should have received a copy of the GNU General Public License
 * along with hIRoic_zephyr. If not, see <https://www.gnu.org/licenses/>.
 */

#ifndef INC_IR_MANAGER_H_
#define INC_IR_MANAGER_H_

int ir_manager_init(void);
int ir_manager_getNextIR(int *ir, unsigned int *length, unsigned int *fs);
const char *ir_manager_getCurrentIRName(void);

#endif /* INC_IR_MANAGER_H_ */
```

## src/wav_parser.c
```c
/*
 * Copyright (C) 2026 Kamil Lulko <kamil.lulko@gmail.com>
 *
 * This file is part of hIRoic_zephyr.
 *
 * hIRoic_zephyr is free software: you can redistribute it and/or modify
 * it under the terms of the GNU General Public License as published by
 * the Free Software Foundation, either version 3 of the License, or
 * (at your option) any later version.
 *
 * hIRoic_zephyr is distributed in the hope that it will be useful,
 * but WITHOUT ANY WARRANTY; without even the implied warranty of
 * MERCHANTABILITY or FITNESS FOR A PARTICULAR PURPOSE. See the
 * GNU General Public License for more details.
 *
 * You should have received a copy of the GNU General Public License
 * along with hIRoic_zephyr. If not, see <https://www.gnu.org/licenses/>.
 */

#include <zephyr/sys/printk.h>
#include <stdint.h>
#include "wav_parser.h"
#include "app_conf.h"

/* WAV file chunk identifiers */
#define CHUNK_ID_RIFF    0x46464952U  /* "RIFF" */
#define CHUNK_ID_WAVE    0x45564157U  /* "WAVE" */
#define CHUNK_ID_FMT     0x20746D66U  /* "fmt " */
#define CHUNK_ID_FACT    0x74636166U  /* "fact" */
#define CHUNK_ID_DATA    0x61746164U  /* "data" */

/* WAV format chunk constants */
#define FMT_CHUNK_SIZE_MIN  16U
#define CHUNK_HEADER_SIZE   8U  /* 4 bytes ID + 4 bytes size */

static unsigned char wavBuffer[WAV_BUF_MAX_LEN] __aligned(4);

unsigned char *wav_parser_getWavBuff(void)
{
	return wavBuffer;
}

int wav_parser_parseWav(WAV_Data *wavData)
{
	const struct wav_riff_header *riff;
	const struct wav_fmt_chunk *fmt = NULL;
	const struct wav_data_chunk *data = NULL;
	const unsigned char *samples = NULL;
	uint32_t offset;
	uint32_t end;

	if (wavData == NULL) {
		printk("Invalid WAV_Data pointer\n");
		return -1;
	}

	/* Parse RIFF header */
	riff = (const struct wav_riff_header *)wavBuffer;

	if (riff->chunk_id != CHUNK_ID_RIFF) {
		printk("Bad RIFF chunk ID\n");
		return -1;
	}

	if (riff->format != CHUNK_ID_WAVE) {
		printk("Bad WAVE ID\n");
		return -1;
	}

	end = sizeof(struct wav_riff_header) + riff->chunk_size
	      - sizeof(riff->format);
	offset = sizeof(struct wav_riff_header);

	/* Walk sub-chunks */
	while (offset + CHUNK_HEADER_SIZE <= end) {
		uint32_t ck_id = *(const uint32_t *)&wavBuffer[offset];
		uint32_t ck_size = *(const uint32_t *)&wavBuffer[offset + 4];

		if (ck_id == CHUNK_ID_FMT) {
			if (ck_size < FMT_CHUNK_SIZE_MIN) {
				printk("fmt chunk too small: %u\n", ck_size);
				return -1;
			}
			fmt = (const struct wav_fmt_chunk *)&wavBuffer[offset];
			printk("fmt chunk: format=%x ch=%u rate=%u bps=%u\n",
			       fmt->audio_format, fmt->num_channels,
			       fmt->sample_rate, fmt->bits_per_sample);
		} else if (ck_id == CHUNK_ID_FACT) {
			printk("fact chunk (compressed audio not supported)\n");
			return -1;
		} else if (ck_id == CHUNK_ID_DATA) {
			data = (const struct wav_data_chunk *)&wavBuffer[offset];
			samples = &wavBuffer[offset + CHUNK_HEADER_SIZE];
			printk("data chunk: %u bytes\n", data->chunk_size);
			break;
		} else {
			printk("skipping unknown chunk 0x%08x (%u bytes)\n",
			       ck_id, ck_size);
		}

		offset += CHUNK_HEADER_SIZE + ck_size;
	}

	/* Sanity checks */
	if (fmt == NULL) {
		printk("Missing fmt chunk\n");
		return -1;
	}

	if (fmt->audio_format != WAVE_FORMAT_PCM) {
		printk("Unsupported audio format: 0x%x\n", fmt->audio_format);
		return -1;
	}

	if (fmt->bits_per_sample != 16 && fmt->bits_per_sample != 24
	    && fmt->bits_per_sample != 32) {
		printk("Unsupported bits per sample: %u\n", fmt->bits_per_sample);
		return -1;
	}

	if (fmt->num_channels < 1) {
		printk("Invalid channel count: %u\n", fmt->num_channels);
		return -1;
	}

	if (fmt->sample_rate == 0) {
		printk("Invalid sample rate\n");
		return -1;
	}

	uint16_t expected_block_align = fmt->num_channels
					* (fmt->bits_per_sample / 8);
	if (fmt->block_align != expected_block_align) {
		printk("block_align mismatch: got %u, expected %u\n",
		       fmt->block_align, expected_block_align);
		return -1;
	}

	uint32_t expected_byte_rate = fmt->sample_rate * fmt->block_align;
	if (fmt->byte_rate != expected_byte_rate) {
		printk("byte_rate mismatch: got %u, expected %u\n",
		       fmt->byte_rate, expected_byte_rate);
		return -1;
	}

	if (data == NULL || samples == NULL || data->chunk_size == 0) {
		printk("No sample data found\n");
		return -1;
	}

	/* Calculate number of samples and apply IR_MAX_LEN truncation */
	uint32_t dataCkSize = data->chunk_size;
	uint32_t numSamples = dataCkSize / fmt->block_align;

	if (numSamples > IR_MAX_LEN) {
		printk("WAV truncated from %u to %u samples\n",
		       numSamples, IR_MAX_LEN);
		numSamples = IR_MAX_LEN;
	}

	wavData->formatCode = (Format_Code)fmt->audio_format;
	wavData->nChannels = fmt->num_channels;
	wavData->nSamplesPerSec = fmt->sample_rate;
	wavData->blockAlign = fmt->block_align;
	wavData->bps = fmt->bits_per_sample;
	wavData->n = numSamples;
	wavData->samples = (void *)samples;

	printk("Done parsing!\n");
	return 0;
}
```

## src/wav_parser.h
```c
/*
 * Copyright (C) 2026 Kamil Lulko <kamil.lulko@gmail.com>
 *
 * This file is part of hIRoic_zephyr.
 *
 * hIRoic_zephyr is free software: you can redistribute it and/or modify
 * it under the terms of the GNU General Public License as published by
 * the Free Software Foundation, either version 3 of the License, or
 * (at your option) any later version.
 *
 * hIRoic_zephyr is distributed in the hope that it will be useful,
 * but WITHOUT ANY WARRANTY; without even the implied warranty of
 * MERCHANTABILITY or FITNESS FOR A PARTICULAR PURPOSE. See the
 * GNU General Public License for more details.
 *
 * You should have received a copy of the GNU General Public License
 * along with hIRoic_zephyr. If not, see <https://www.gnu.org/licenses/>.
 */

#ifndef INC_WAV_PARSER_H_
#define INC_WAV_PARSER_H_

#include <stdint.h>

struct wav_riff_header {
	uint32_t chunk_id;      /* "RIFF" = 0x46464952 */
	uint32_t chunk_size;
	uint32_t format;        /* "WAVE" = 0x45564157 */
} __packed;

struct wav_fmt_chunk {
	uint32_t chunk_id;      /* "fmt " = 0x20746D66 */
	uint32_t chunk_size;
	uint16_t audio_format;
	uint16_t num_channels;
	uint32_t sample_rate;
	uint32_t byte_rate;
	uint16_t block_align;
	uint16_t bits_per_sample;
} __packed;

struct wav_data_chunk {
	uint32_t chunk_id;      /* "data" = 0x61746164 */
	uint32_t chunk_size;
} __packed;

typedef enum {
	WAVE_FORMAT_PCM = 0x0001,
	WAVE_FORMAT_IEEE_FLOAT = 0x0003,
	WAVE_FORMAT_ALAW = 0x0006,
	WAVE_FORMAT_MULAW = 0x0007,
	WAVE_FORMAT_EXTENSIBLE = 0xFFFE,
} Format_Code;

typedef struct E_WAV_Data {
	Format_Code formatCode;
	unsigned int nChannels;
	unsigned int nSamplesPerSec;
	unsigned int blockAlign;
	unsigned int bps;
	unsigned int n;
	void *samples;
} WAV_Data;

unsigned char *wav_parser_getWavBuff(void);
int wav_parser_parseWav(WAV_Data *wavData);

#endif /* INC_WAV_PARSER_H_ */
```
